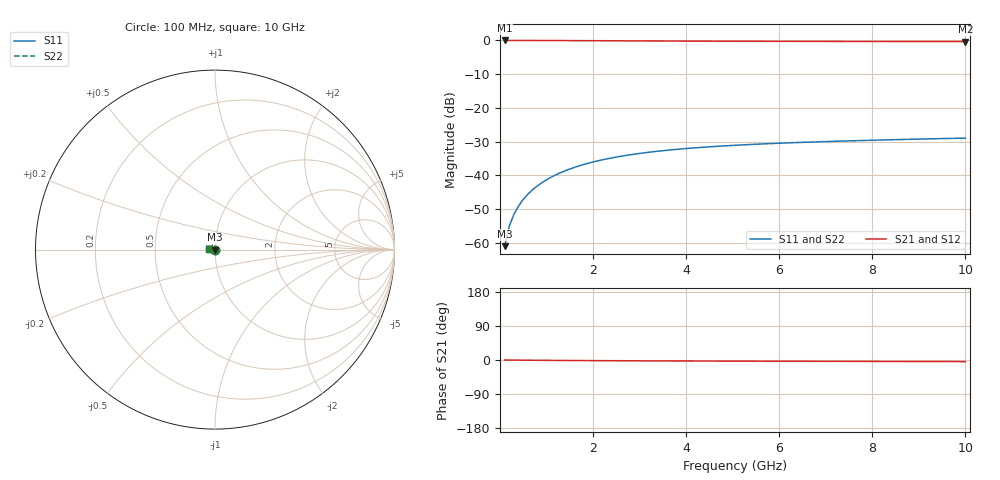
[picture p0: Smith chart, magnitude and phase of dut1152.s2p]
! Touchstone file exported from HFSS 2024.1.0
!  File:  C:/UserFiles/LocalFiles/RDL_TSV_Batchsim/temp_TSV1_1152_1780071984.aedt
!  Generated:  12:30:48 AM May 30, 2026
!  Design:  TSV1
!  Project:  temp_TSV1_1152_1780071984
!  Setup:  Setup1
!  Solution:  Sweep
! Variables:
!  dtsv = 8.6um
!  hbump = 3um
!  htsv = 65.98um
!  lrdl = 252.1521522um
!  p = 40
!  p1 = 45.72um
!  t = 500um
!  trdl = 3um
!  wrdl = 24.89489489um
# GHz S MA R 50.000000
! Terminal data exported
! Port[1] = TSV22_T1
! Port[2] = TSV22_T2
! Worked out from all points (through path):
!   100 points, 100 MHz to 10 GHz, reference 50 ohm
!   highest |S21| = 0.00 dB at 100 MHz (marker M1); lowest = -0.3 dB at 10 GHz (marker M2)
!   lowest |S11| = -60.9 dB at 100 MHz (marker M3), VSWR 1.00, Z = 50 - j0.0886 ohm
!   |S11| at or under -10 dB: start of sweep to end of sweep
!   |S22| runs from -60.9 to -28.9 dB; largest |S21 - S12| = 3.4e-15
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0.1  0.0008979 -80.5  0.9998 -0.1  0.9998 -0.1  0.0008979 -80.5
! Gamma 0 0 0 0
! Port Impedance 50 0 50 0
0.2  0.00178 -87.6  0.9997 -0.2  0.9997 -0.2  0.00178 -87.6
0.3  0.002666 -91.3  0.9995 -0.3  0.9995 -0.3  0.002666 -91.3
0.4  0.003548 -94.0  0.9993 -0.4  0.9993 -0.4  0.003548 -94.0
0.5  0.004422 -96.4  0.9991 -0.5  0.9991 -0.5  0.004422 -96.4
0.6  0.005288 -98.5  0.9988 -0.6  0.9988 -0.6  0.005288 -98.5
0.7  0.006144 -100.6  0.9984 -0.7  0.9984 -0.7  0.006144 -100.6
0.8  0.006987 -102.5  0.998 -0.8  0.998 -0.8  0.006987 -102.5
0.9  0.007818 -104.4  0.9976 -0.8  0.9976 -0.8  0.007818 -104.4
1.1  0.009436 -108.0  0.9966 -1.0  0.9966 -1.0  0.009436 -108.0
1.4  0.01174 -113.1  0.9949 -1.3  0.9949 -1.3  0.01174 -113.1
1.6  0.01318 -116.3  0.9937 -1.4  0.9937 -1.4  0.01318 -116.3
1.8  0.01455 -119.4  0.9923 -1.5  0.9923 -1.5  0.01455 -119.4
2.1  0.01646 -123.9  0.9903 -1.7  0.9903 -1.7  0.01646 -123.9
2.5  0.01875 -129.4  0.9876 -2.0  0.9876 -2.0  0.01875 -129.4
2.9  0.02075 -134.5  0.9849 -2.2  0.9849 -2.2  0.02075 -134.5
3.4  0.02291 -140.3  0.9818 -2.4  0.9818 -2.4  0.02291 -140.3
4.2  0.0257 -148.4  0.9774 -2.7  0.9774 -2.7  0.0257 -148.4
5.1  0.02813 -156.2  0.9734 -3.0  0.9734 -3.0  0.02813 -156.2
6.7  0.03131 -167.5  0.9683 -3.4  0.9683 -3.4  0.03131 -167.5
8.4  0.03382 -177.1  0.9646 -3.9  0.9646 -3.9  0.03382 -177.1
10  0.03581 175.3  0.9622 -4.3  0.9622 -4.3  0.03581 175.3
